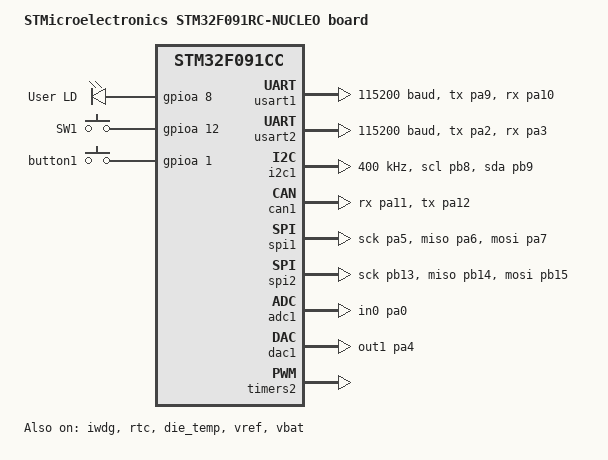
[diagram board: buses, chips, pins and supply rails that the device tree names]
/*
 * Copyright (c) 2017 Bobby Noelte
 *
 * SPDX-License-Identifier: Apache-2.0
 */

 /dts-v1/;
 #include "stm32f091cc.dtsi"
 #include <st/f0/stm32f091c(b-c)tx-pinctrl.dtsi>
 #include "arduino_r3_connector.dtsi"
 #include "st_morpho_connector.dtsi"
 #include <zephyr/dt-bindings/input/input-event-codes.h>
 
 / {
     model = "STMicroelectronics STM32F091RC-NUCLEO board";
     compatible = "barth,stg_800";
 
     chosen {
         zephyr,shell-uart = &usart2;
         zephyr,sram = &sram0;
         zephyr,flash = &flash0;
         zephyr,canbus = &can1;
     };
 
     leds: leds {
         status = "okay";
         compatible = "gpio-leds";
         green_led: green_led {
             status = "okay";
             gpios = <&gpioa 8 GPIO_ACTIVE_HIGH>;
             label = "User LD";
         };
     };
 
     gpio_keys {
        status = "okay";
        compatible = "gpio-keys";
        mcuboot_button0: button_0 {
            status = "okay";
            label = "SW1";
            gpios = <&gpioa 12 (GPIO_ACTIVE_HIGH | GPIO_PULL_DOWN)>; //In 4
            zephyr,code = <INPUT_KEY_0>;
        };
        

    };

    buttons {
        status = "okay";
        compatible = "gpio-keys";
        button1: button_1 {
            status = "okay";
            gpios = <&gpioa 1 GPIO_ACTIVE_HIGH>;
        };
    };
 
     pwmleds: pwmleds {
         compatible = "pwm-leds";
         /* NOTE: disabled by default, PWM2 conflicts with SPI1 */
         status = "disabled";
 
         green_pwm_led: green_pwm_led {
             pwms = <&pwm2 1 PWM_MSEC(20) PWM_POLARITY_NORMAL>;
         };
     };
 
     aliases {
         led0 = &green_led;
         sw0 = &mcuboot_button0;
         pwm-led0 = &green_pwm_led;
         watchdog0 = &iwdg;
         die-temp0 = &die_temp;
         volt-sensor0 = &vref;
         volt-sensor1 = &vbat;
         mcuboot-button0 = &mcuboot_button0;   
     };
 };
 
 
 
 &clk_hsi {
     status = "okay";
     
 };
 &clk_lsi {
     status = "okay";
 };
 
 &pll {
     prediv = <1>;
     mul = <6>;
     clocks = <&clk_hsi>;
     status = "okay";
 };
 
 &rcc {
     clocks = <&pll>;
     clock-frequency = <DT_FREQ_M(48)>;
     ahb-prescaler = <1>;
     apb1-prescaler = <1>;
 };
 
 &usart1 {
     pinctrl-0 = <&usart1_tx_pa9 &usart1_rx_pa10>;
     pinctrl-names = "default";
     current-speed = <115200>;
     status = "okay";
     
 };
 
 &usart2 {
     pinctrl-0 = <&usart2_tx_pa2 &usart2_rx_pa3>;
     pinctrl-names = "default";
     current-speed = <115200>;
     status = "okay";
 };
 
 &i2c1 {
     pinctrl-0 = <&i2c1_scl_pb8 &i2c1_sda_pb9>;
     pinctrl-names = "default";
     status = "okay";
     clock-frequency = <I2C_BITRATE_FAST>;
 };
 
 &i2c2 {
     /* Pin conflict with can1. Enable only with can1 disabled. */
     pinctrl-0 = <&i2c2_scl_pa11 &i2c2_sda_pa12>;
     pinctrl-names = "default";
     status = "disabled";
     clock-frequency = <I2C_BITRATE_FAST>;
 };
 
 &can1 {
     pinctrl-0 = <&can_rx_pa11 &can_tx_pa12>;
     pinctrl-names = "default";
     status = "okay";
 };
 
 &spi1 {
     pinctrl-0 = <&spi1_sck_pa5 &spi1_miso_pa6 &spi1_mosi_pa7>;
     pinctrl-names = "default";
     status = "okay";
 };
 
 &spi2 {
     pinctrl-0 = <&spi2_sck_pb13 &spi2_miso_pb14 &spi2_mosi_pb15>;
     pinctrl-names = "default";
     status = "okay";
 };
 
 &iwdg {
     status = "okay";
 };
 
 &rtc {
     clocks = <&rcc STM32_CLOCK_BUS_APB1 0x10000000>,
          <&rcc STM32_SRC_LSI RTC_SEL(2)>;
     status = "okay";
 };
 
 
 
 &adc1 {
     pinctrl-0 = <&adc_in0_pa0>;
     pinctrl-names = "default";
     st,adc-clock-source = <SYNC>;
     st,adc-prescaler = <4>;
     status = "okay";
 };
 
 &die_temp {
     status = "okay";
 };
 
 &dac1 {
     status = "okay";
     pinctrl-0 = <&dac_out1_pa4>;
     pinctrl-names = "default";
 };
 
 &dma1 {
     status = "okay";
 };
 
 &timers2 {
     st,prescaler = <10000>;
     status = "okay";
 
     pwm2: pwm {
         /* NOTE: disabled by default, PWM2 conflicts with SPI1 */
         pinctrl-0 = <&tim2_ch1_pa5>;
         pinctrl-names = "default";
     };
 };
 
 &vref {
     status = "okay";
 };
 
 &vbat {
     status = "okay";
 };

 &flash0 {
    partitions {
        compatible = "fixed-partitions";
        #address-cells = <1>;
        #size-cells = <1>;

        boot_partition: partition@0 {
            label = "mcuboot";
            reg = <0x00000000 0x00010000>; /* 64 KB */
        };

        slot0_partition: partition@10000 {
            label = "image-0";
            reg = <0x00010000 0x00018000>; /* 96 KB */
        };

        slot1_partition: partition@20000 {
            label = "image-1";
            reg = <0x00020000 0x00018000>; /* 96 KB */
        };

        storage_partition: partition@38000 {
            label = "storage";
            reg = <0x00038000 0x00008000>; /* 32 KB */
        };
    };
};


 /{
    chosen {
            zephyr,code-partition = &slot0_partition; 
            zephyr,console = &usart1;
            
        };
    };


 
